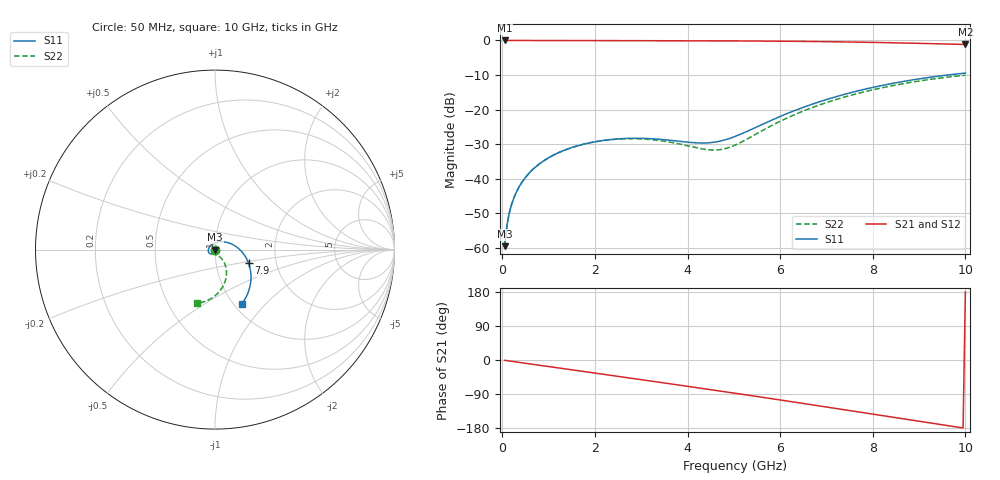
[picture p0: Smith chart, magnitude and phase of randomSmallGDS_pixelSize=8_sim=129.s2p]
! freq	dB(S11)	phase(S11)	dB(S12)	phase(S12)
!  dB(S21)	phase(S21)	dB(S22)	phase(S22)
!S-par simulation data
#  GHz  S  DB  R 50
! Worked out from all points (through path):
!   200 points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, 50 MHz to 10 GHz, reference 50 ohm
!   highest |S21| = 0.00 dB at 50 MHz (marker M1); lowest = -1.2 dB at 10 GHz (marker M2)
!   group delay of S21, straight-line fit = 50.1 ps
!   lowest |S11| = -59.5 dB at 50 MHz (marker M3), VSWR 1.00, Z = 50 - j0.106 ohm
!   |S11| at or under -10 dB: start of sweep to 9.618 GHz
!   |S22| runs from -59.5 to -10.1 dB; largest |S21 - S12| = 0
!   S11 on the Smith chart (normalised r, x): 50 MHz: 1.00, -0.00; 7.9 GHz: 1.44, -0.23; 10 GHz: 1.09, -0.74
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0.05  -59.52 -89.7  -0.00 -0.9  -0.00 -0.9  -59.53 -89.3
0.1  -53.51 -91.5  -0.00 -1.7  -0.00 -1.7  -53.52 -90.8
0.15  -49.99 -92.8  -0.00 -2.6  -0.00 -2.6  -50.00 -91.7
0.2  -47.50 -94.1  -0.00 -3.5  -0.00 -3.5  -47.51 -92.6
0.35  -42.68 -97.5  -0.01 -6.1  -0.01 -6.1  -42.68 -94.9
0.5  -39.64 -100.9  -0.01 -8.7  -0.01 -8.7  -39.64 -97.2
0.7  -36.82 -105.4  -0.01 -12.1  -0.01 -12.1  -36.82 -100.1
1  -33.95 -112.2  -0.02 -17.3  -0.02 -17.3  -33.95 -104.3
1.35  -31.72 -120.2  -0.03 -23.3  -0.03 -23.3  -31.71 -109.1
1.75  -30.04 -129.7  -0.04 -30.2  -0.04 -30.2  -30.05 -114.2
2.55  -28.44 -150.3  -0.06 -44.0  -0.06 -44.0  -28.52 -122.8
3.4  -28.60 -178.6  -0.08 -58.8  -0.08 -58.8  -28.97 -126.8
4.15  -29.60 142.7  -0.10 -72.0  -0.10 -72.0  -30.93 -116.8
4.5  -29.57 117.9  -0.11 -78.3  -0.11 -78.3  -31.69 -102.3
4.75  -28.99 99.0  -0.12 -82.7  -0.12 -82.7  -31.50 -88.3
5.05  -27.66 77.6  -0.14 -88.1  -0.14 -88.1  -30.15 -72.3
5.85  -22.87 35.7  -0.20 -102.7  -0.20 -102.7  -24.39 -54.0
6.7  -18.40 7.4  -0.30 -118.4  -0.30 -118.4  -19.38 -57.0
7.9  -13.89 -22.2  -0.53 -140.9  -0.53 -140.9  -14.60 -72.5
8.35  -12.62 -31.9  -0.65 -149.4  -0.65 -149.4  -13.28 -79.5
9.15  -10.82 -48.0  -0.89 -164.4  -0.89 -164.4  -11.44 -93.0
10  -9.44 -63.6  -1.17 179.7  -1.17 179.7  -10.07 -108.2
